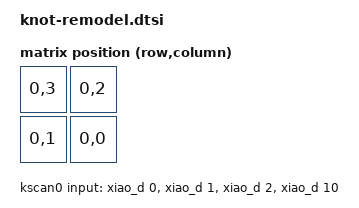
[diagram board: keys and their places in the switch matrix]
#include <dt-bindings/zmk/matrix_transform.h>
#include <dt-bindings/zmk/input_transform.h> // <<< この一行を追加！
#include <physical_layouts.dtsi>
#include <input/processors.dtsi>

/ {
    chosen {
        zmk,kscan = &kscan0;
        zmk,matrix_transform = &default_transform;
        // zmk,pointing-device の指定は .overlay ファイルで行います
    };

    // あなたのキー設定をそのまま維持します
    kscan0: kscan {
        compatible = "zmk,kscan-gpio-direct";
        wakeup-source;
        input-gpios
            = <&xiao_d 0 (GPIO_ACTIVE_LOW | GPIO_PULL_UP)>
            , <&xiao_d 1 (GPIO_ACTIVE_LOW | GPIO_PULL_UP)>
            , <&xiao_d 2 (GPIO_ACTIVE_LOW | GPIO_PULL_UP)>
            , <&xiao_d 10 (GPIO_ACTIVE_LOW | GPIO_PULL_UP)>
            ;
    };

    // あなたのキー設定をそのまま維持します
    default_transform: keymap_transform_0 {
        compatible = "zmk,matrix-transform";
        rows = <2>;
        columns = <2>;
        map = <
            RC(0,3) RC(0,2)
            RC(0,1) RC(0,0)
        >;
    };

    // トラックボール機能の「骨格」だけを定義します
    trackball_listener: trackball_listener {
        compatible = "zmk,input-listener";
        // &trackball という名前のデバイスを監視します
        // (デバイス自体は、後で .overlay ファイルで定義します)
        device = <&trackball>;
        
        // デフォルトでは無効にしておき、.overlay ファイルで有効化します
        status = "disabled";

        // センサーの物理的な向きに合わせた軸の入れ替えなど、
        // 基本的な設定はここに書いておくのが一般的です
        input-processors = <&zip_xy_transform INPUT_TRANSFORM_XY_SWAP>;
    };
};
